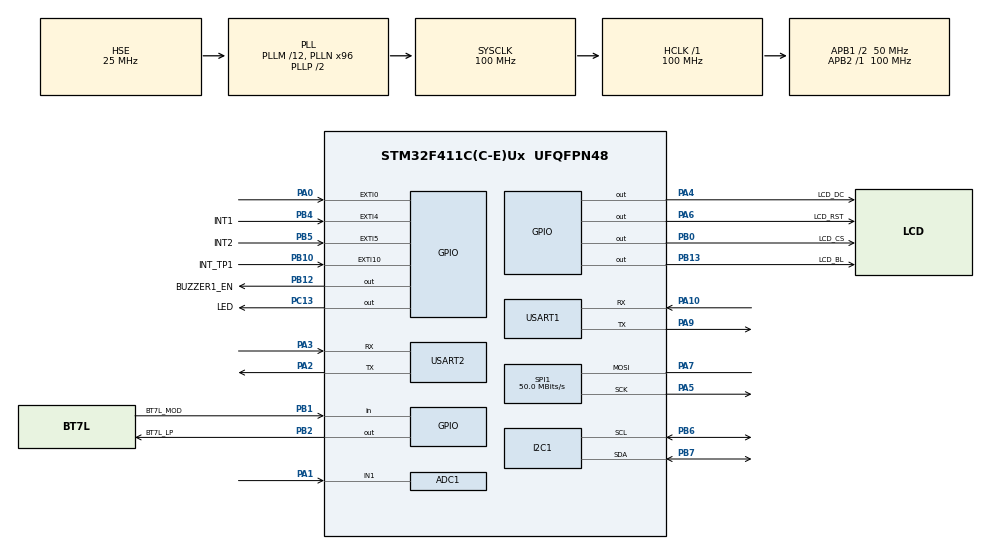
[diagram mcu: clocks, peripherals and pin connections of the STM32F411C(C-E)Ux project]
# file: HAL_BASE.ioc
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ADC1.Channel-0\#ChannelRegularConversion=ADC_CHANNEL_1
ADC1.NbrOfConversionFlag=1
ADC1.Rank-0\#ChannelRegularConversion=1
ADC1.SamplingTime-0\#ChannelRegularConversion=ADC_SAMPLETIME_3CYCLES
ADC1.master=1
Dma.Request0=SPI1_TX
Dma.SPI1_TX.0.Direction=DMA_MEMORY_TO_PERIPH
Dma.SPI1_TX.0.FIFOMode=DMA_FIFOMODE_DISABLE
Dma.SPI1_TX.0.Instance=DMA2_Stream2
Dma.SPI1_TX.0.MemDataAlignment=DMA_MDATAALIGN_BYTE
Dma.SPI1_TX.0.MemInc=DMA_MINC_ENABLE
Dma.SPI1_TX.0.Mode=DMA_CIRCULAR
Dma.SPI1_TX.0.PeriphDataAlignment=DMA_PDATAALIGN_BYTE
Dma.SPI1_TX.0.PeriphInc=DMA_PINC_DISABLE
Dma.SPI1_TX.0.Priority=DMA_PRIORITY_LOW
Mcu.Family=STM32F4
Mcu.Name=STM32F411C(C-E)Ux
Mcu.Package=UFQFPN48
NVIC.DMA2_Stream2_IRQn=true\:0\:0\:false\:false\:true\:false\:true
NVIC.PriorityGroup=NVIC_PRIORITYGROUP_4
NVIC.RTC_Alarm_IRQn=true\:0\:0\:false\:false\:true\:true\:true
NVIC.TIM1_UP_TIM10_IRQn=true\:0\:0\:false\:false\:true\:true\:true
NVIC.USART1_IRQn=true\:0\:0\:false\:false\:true\:true\:true
NVIC.USART2_IRQn=true\:0\:0\:false\:false\:true\:true\:true
PA0-WKUP.Signal=GPXTI0
PA1.Signal=ADCx_IN1
PA10.Mode=Asynchronous
PA10.Signal=USART1_RX
PA2.Mode=Asynchronous
PA2.Signal=USART2_TX
PA3.Mode=Asynchronous
PA3.Signal=USART2_RX
PA4.GPIO_Label=LCD_DC
PA4.Signal=GPIO_Output
PA5.Mode=Simplex_Bidirectional_Master
PA5.Signal=SPI1_SCK
PA6.GPIO_Label=LCD_RST
PA6.Signal=GPIO_Output
PA7.Mode=Simplex_Bidirectional_Master
PA7.Signal=SPI1_MOSI
PA9.Mode=Asynchronous
PA9.Signal=USART1_TX
PB0.GPIO_Label=LCD_CS
PB0.Signal=GPIO_Output
PB1.GPIO_Label=BT7L_MOD
PB1.Signal=GPIO_Input
PB10.GPIO_Label=INT_TP1
PB10.Signal=GPXTI10
PB12.GPIO_Label=BUZZER1_EN
PB12.Signal=GPIO_Output
PB13.GPIO_Label=LCD_BL
PB13.Signal=GPIO_Output
PB2.GPIO_Label=BT7L_LP
PB2.Signal=GPIO_Output
PB4.GPIO_Label=INT1
PB4.Signal=GPXTI4
PB5.GPIO_Label=INT2
PB5.Signal=GPXTI5
PB6.Mode=I2C
PB6.Signal=I2C1_SCL
PB7.Mode=I2C
PB7.Signal=I2C1_SDA
PC13-ANTI_TAMP.GPIO_Label=LED
PC13-ANTI_TAMP.Signal=GPIO_Output
PC14-OSC32_IN.Mode=LSE-External-Oscillator
PC14-OSC32_IN.Signal=RCC_OSC32_IN
PC15-OSC32_OUT.Mode=LSE-External-Oscillator
PC15-OSC32_OUT.Signal=RCC_OSC32_OUT
PH0\ -\ OSC_IN.Mode=HSE-External-Oscillator
PH0\ -\ OSC_IN.Signal=RCC_OSC_IN
PH1\ -\ OSC_OUT.Mode=HSE-External-Oscillator
PH1\ -\ OSC_OUT.Signal=RCC_OSC_OUT
ProjectManager.HeapSize=0x200
ProjectManager.StackSize=0x400
ProjectManager.TargetToolchain=MDK-ARM V5.27
RCC.48MHZClocksFreq_Value=50000000
RCC.AHBFreq_Value=100000000
RCC.APB1CLKDivider=RCC_HCLK_DIV2
RCC.APB1Freq_Value=50000000
RCC.APB1TimFreq_Value=100000000
RCC.APB2Freq_Value=100000000
RCC.APB2TimFreq_Value=100000000
RCC.CortexFreq_Value=100000000
RCC.HCLKFreq_Value=100000000
RCC.HSE_VALUE=25000000
RCC.HSI_VALUE=16000000
RCC.PLLM=12
RCC.PLLN=96
RCC.PLLSourceVirtual=RCC_PLLSOURCE_HSE
RCC.RCC_RTC_Clock_Source=RCC_RTCCLKSOURCE_LSE
RCC.SYSCLKFreq_VALUE=100000000
RCC.SYSCLKSource=RCC_SYSCLKSOURCE_PLLCLK
RCC.VCOOutputFreq_Value=200000000
RTC.Alarm=RTC_ALARM_A
SH.ADCx_IN1.0=ADC1_IN1,IN1
SPI1.CalculateBaudRate=50.0 MBits/s
SPI1.Direction=SPI_DIRECTION_1LINE
SPI1.Mode=SPI_MODE_MASTER
SPI1.VirtualType=VM_MASTER
TIM10.Period=10000
TIM10.Prescaler=0
USART1.VirtualMode=VM_ASYNC
USART2.VirtualMode=VM_ASYNC
VP_RTC_VS_RTC_Activate.Mode=RTC_Enabled
VP_RTC_VS_RTC_Alarm_A_Intern.Mode=Alarm A
VP_RTC_VS_RTC_Calendar.Mode=RTC_Calendar
VP_TIM10_VS_ClockSourceINT.Mode=Enable_Timer
board=custom

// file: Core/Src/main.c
/* USER CODE BEGIN Header */
/**
  ******************************************************************************
  * @file           : main.c
  * @brief          : Main program body
  ******************************************************************************
  * @attention
  *
  * <h2><center>&copy; Copyright (c) 2021 STMicroelectronics.
  * All rights reserved.</center></h2>
  *
  * This software component is licensed by ST under BSD 3-Clause license,
  * the "License"; You may not use this file except in compliance with the
  * License. You may obtain a copy of the License at:
  *                        opensource.org/licenses/BSD-3-Clause
  *
  ******************************************************************************
  */
/* USER CODE END Header */
#include "main.h"
#include "adc.h"
#include "dma.h"
#include "i2c.h"
#include "rtc.h"
#include "spi.h"
#include "tim.h"
#include "usart.h"
#include "gpio.h"

/* USER CODE BEGIN Includes */
#include "stdio.h"
#include "ControlTask.h"
#include "BMP280/bmp280.h"

#include "mcu_sdk/bluetooth.h"
/* vim: set ai et ts=4 sw=4: */
#include <string.h>
#include "st7735/st7735.h"
#include "st7735/fonts.h"
#include "st7735/testimg.h"
//lvgl includes
#include "lvgl/lvgl.h"
//multiButton
#include "multi_button/multi_button.h"
//lowpower
#include "lowpower/lpmode.h"
#include "lsm6dsm_STdC/driver/lsm6dsm_reg.h"
/* USER CODE END Includes */

/* USER CODE BEGIN PV */
/* Buffer used for transmission */
uint8_t aTxStartMessage[] = "****UART-Hyperterminal communication based on IT ****\r\n Enter 10 characters using keyboard :\r\n";
uint8_t aTxEndMessage[] = "\r\nExample Finished\r\n";

/* Buffer used for reception */
uint8_t aRxBuffer[20];
uint8_t bRxBuffer;
uint8_t tuya_test_string[]={0x55,0xAA,0x00,0x0A,0x00,0x00,0x09};

BMP280_HandleTypedef bmp280;
uint16_t size;
uint8_t Data[256];
uint8_t bme280ready=0;

//clock configuration
uint8_t clockTime=0;

//LVGL
extern lv_font_t myFont;			// 声明制作好的字库
uint8_t completed1 = 0;
//lowpower-stop
extern uint8_t my_stop;
//multibutton

//blutetooth flag
uint8_t bt_update=0;

/* USER CODE END PV */

void SystemClock_Config(void);
/* USER CODE BEGIN PFP */
void Buzzer_En(void);
void Buzzer_Clr(void);
void LP_Clr(void);

//void BME280_SendMessage();
/* USER CODE END PFP */

/* USER CODE BEGIN 0 */

void init() {
	LP_Clr();										// 关闭蓝牙低功�?
	bt_protocol_init();					// 蓝牙模组初始�?
  ST7735_Init();							// LCD初始�?
	ST7735_FillScreen(ST7735_BLACK);
	lv_init();									// LittleVGL初始�?
	lv_port_disp_init();        // 显示器初始化
	my_button_init();						//multi_button初始�?
	if(HAL_RTCEx_BKUPRead(&hrtc,RTC_BKP_DR1) != 0x32F2)//RTC时间初始化
		set_time();
	set_alarm();
	//做初始化
	lsm6dsm_read_data_polling();
	HAL_UART_Receive_IT(&huart2, &bRxBuffer, 1);//串口中断接收
	//F4不支持	HAL_ADCEx_Calibration_Start(&hadc1);                     //校准ADC
}

static void lv_ex_label_1(void)
{
    lv_obj_t * label2 = lv_label_create(lv_scr_act(), NULL);
    lv_label_set_recolor(label2, true);
    lv_label_set_long_mode(label2, LV_LABEL_LONG_SROLL_CIRC); /*Circular scroll*/
    lv_obj_set_width(label2, 120);
    // Hello world ! Trisuborn.
    lv_label_set_text(label2, "#ff0000 Today# #00ff00 I'm very # #0000ff happy # #0f0f0f lalalala #");
    lv_obj_align(label2, NULL, LV_ALIGN_CENTER, 0, 0);
}

static void lv_test(void)
{
    lv_obj_t *myFont_label = lv_label_create(lv_scr_act(), NULL);
    if(myFont_label == NULL)
    {
        printf("init failed\r\n");
        while(1);
    }
    static lv_style_t myFont_style;
    lv_style_copy(&myFont_style,&lv_style_plain);
    myFont_style.text.font = &myFont;

		lv_label_set_long_mode(myFont_label, LV_LABEL_LONG_SROLL_CIRC); /*Circular scroll*/
		lv_obj_set_size(myFont_label, 120,80);
		lv_label_set_recolor(myFont_label, true);

    lv_label_set_style(myFont_label,LV_LABEL_STYLE_MAIN,&myFont_style);
    lv_label_set_text(myFont_label," #ff0000 fantastic!# ");
    lv_label_set_body_draw(myFont_label,true);
    lv_obj_align(myFont_label,NULL,LV_ALIGN_CENTER,0,0);
}

void lv_ex_obj_1(void)
{
    lv_obj_t * obj1;
    obj1 = lv_obj_create(lv_scr_act(), NULL);
    lv_obj_set_size(obj1, 100, 50);
    lv_obj_set_style(obj1, &lv_style_plain_color);
    lv_obj_align(obj1, NULL, LV_ALIGN_CENTER, -10, -5);

    /*Copy the previous object and enable drag*/
    lv_obj_t * obj2;
    obj2 = lv_obj_create(lv_scr_act(), obj1);
    lv_obj_set_style(obj2, &lv_style_pretty_color);
    lv_obj_align(obj2, NULL, LV_ALIGN_CENTER, 0, 0);
    lv_obj_set_drag(obj2, true);

    static lv_style_t style_shadow;
    lv_style_copy(&style_shadow, &lv_style_pretty);
    style_shadow.body.shadow.width = 6;
    style_shadow.body.radius = LV_RADIUS_CIRCLE;

    /*Copy the previous object (drag is already enabled)*/
    lv_obj_t * obj3;
    obj3 = lv_obj_create(lv_scr_act(), obj2);
    lv_obj_set_style(obj3, &style_shadow);
    lv_obj_align(obj3, NULL, LV_ALIGN_CENTER, 10, 5);
}

static void event_handler(lv_obj_t * obj, lv_event_t event)
{
    if(event == LV_EVENT_CLICKED) {
        lv_calendar_date_t * date = lv_calendar_get_pressed_date(obj);
        if(date) {
            lv_calendar_set_today_date(obj, date);
        }
    }
}

void lv_ex_calendar_1(void)
{
    lv_obj_t  * calendar = lv_calendar_create(lv_scr_act(), NULL);
    lv_obj_set_size(calendar,160, 160);
    lv_obj_align(calendar, NULL, LV_ALIGN_IN_TOP_MID, 0, 0);
    lv_obj_set_event_cb(calendar, event_handler);

    /*Set the today*/
    lv_calendar_date_t today;
    today.year = 2018;
    today.month = 10;
    today.day = 23;

    lv_calendar_set_today_date(calendar, &today);
    lv_calendar_set_showed_date(calendar, &today);

    /*Highlight some days*/
    static lv_calendar_date_t highlihted_days[3];       /*Only it's pointer will be saved so should be static*/
    highlihted_days[0].year = 2018;
    highlihted_days[0].month = 10;
    highlihted_days[0].day = 6;

    highlihted_days[1].year = 2018;
    highlihted_days[1].month = 10;
    highlihted_days[1].day = 11;

    highlihted_days[2].year = 2018;
    highlihted_days[2].month = 11;
    highlihted_days[2].day = 22;

    lv_calendar_set_highlighted_dates(calendar, highlihted_days, 3);
}

void lv_ex_tileview_1(void)
{
    static lv_point_t valid_pos[] = {{0,0}, {0, 1}, {1,1}};
    lv_obj_t *tileview;
    tileview = lv_tileview_create(lv_scr_act(), NULL);
    lv_tileview_set_valid_positions(tileview, valid_pos, 3);
    lv_tileview_set_edge_flash(tileview, true);

    lv_obj_t * tile1 = lv_obj_create(tileview, NULL);
    lv_obj_set_size(tile1, LV_HOR_RES, LV_VER_RES);
    lv_obj_set_style(tile1, &lv_style_pretty);
    lv_tileview_add_element(tileview, tile1);

    /*Tile1: just a label*/
    lv_obj_t * label = lv_label_create(tile1, NULL);
    lv_label_set_text(label, "Tile 1");
    lv_obj_align(label, NULL, LV_ALIGN_CENTER, 0, 0);

    /*Tile2: a list*/
    lv_obj_t * list = lv_list_create(tileview, NULL);
    lv_obj_set_size(list, LV_HOR_RES, LV_VER_RES);
    lv_obj_set_pos(list, 0, LV_VER_RES);
    lv_list_set_scroll_propagation(list, true);
    lv_list_set_sb_mode(list, LV_SB_MODE_OFF);
    lv_tileview_add_element(tileview, list);

    lv_obj_t * list_btn;
    list_btn = lv_list_add_btn(list, NULL, "One");
    lv_tileview_add_element(tileview, list_btn);

    list_btn = lv_list_add_btn(list, NULL, "Two");
    lv_tileview_add_element(tileview, list_btn);

    list_btn = lv_list_add_btn(list, NULL, "Three");
    lv_tileview_add_element(tileview, list_btn);

    list_btn = lv_list_add_btn(list, NULL, "Four");
    lv_tileview_add_element(tileview, list_btn);

    list_btn = lv_list_add_btn(list, NULL, "Five");
    lv_tileview_add_element(tileview, list_btn);

    list_btn = lv_list_add_btn(list, NULL, "Six");
    lv_tileview_add_element(tileview, list_btn);

    list_btn = lv_list_add_btn(list, NULL, "Seven");
    lv_tileview_add_element(tileview, list_btn);

    list_btn = lv_list_add_btn(list, NULL, "Eight");
    lv_tileview_add_element(tileview, list_btn);

    /*Tile3: a button*/
    lv_obj_t * tile3 = lv_obj_create(tileview, tile1);
    lv_obj_set_pos(tile3, LV_HOR_RES, LV_VER_RES);
    lv_tileview_add_element(tileview, tile3);

    lv_obj_t * btn = lv_btn_create(tile3, NULL);
    lv_obj_align(btn, NULL, LV_ALIGN_CENTER, 0, 0);

    label = lv_label_create(btn, NULL);
    lv_label_set_text(label, "Button");
}

#define CANVAS_WIDTH  100
#define CANVAS_HEIGHT  75

void lv_ex_canvas_1(void)
{
    static lv_style_t style;
    lv_style_copy(&style, &lv_style_plain);
    style.body.main_color = LV_COLOR_RED;
    style.body.grad_color = LV_COLOR_MAROON;
    style.body.radius = 4;
    style.body.border.width = 2;
    style.body.border.color = LV_COLOR_BLACK;
    style.body.shadow.color = LV_COLOR_BLACK;
    style.body.shadow.width = 4;
    style.line.width = 2;
    style.line.color = LV_COLOR_BLACK;
    style.text.color = LV_COLOR_BLUE;

    static lv_color_t cbuf[LV_CANVAS_BUF_SIZE_TRUE_COLOR(CANVAS_WIDTH, CANVAS_HEIGHT)];

    lv_obj_t * canvas = lv_canvas_create(lv_scr_act(), NULL);
    lv_canvas_set_buffer(canvas, cbuf, CANVAS_WIDTH, CANVAS_HEIGHT, LV_IMG_CF_TRUE_COLOR);
    lv_obj_align(canvas, NULL, LV_ALIGN_CENTER, 0, 0);
    lv_canvas_fill_bg(canvas, LV_COLOR_SILVER);

    lv_canvas_draw_rect(canvas, 35, 30, 50, 35, &style);

    lv_canvas_draw_text(canvas, 20, 10, 50, &style, "Some text", LV_LABEL_ALIGN_LEFT);

    /* Test the rotation. It requires an other buffer where the orignal image is stored.
     * So copy the current image to buffer and rotate it to the canvas */
    lv_color_t cbuf_tmp[CANVAS_WIDTH * CANVAS_HEIGHT];
    memcpy(cbuf_tmp, cbuf, sizeof(cbuf_tmp));
    lv_img_dsc_t img;
    img.data = (void *)cbuf_tmp;
    img.header.cf = LV_IMG_CF_TRUE_COLOR;
    img.header.w = CANVAS_WIDTH;
    img.header.h = CANVAS_HEIGHT;

    lv_canvas_fill_bg(canvas, LV_COLOR_SILVER);
    lv_canvas_rotate(canvas, &img, 30, 0, 0, CANVAS_WIDTH / 2, CANVAS_HEIGHT / 2);
}

void ready_call_back()
{
	printf("anim\n\r");

}
lv_obj_t * btn1;
lv_anim_t a;
void my_lv_anim1()
{

	btn1 = lv_obj_create(lv_scr_act(), NULL);
	lv_obj_set_size(btn1, 50, 20);
	lv_obj_set_style(btn1, &lv_style_btn_ina);
	lv_obj_align(btn1, NULL, LV_ALIGN_CENTER, -30, 0);

	memset(&a, 0, sizeof(lv_anim_t));

	a.var = btn1;  //动画对象

	a.exec_cb = lv_obj_set_y; // y轴移动
	a.time =   lv_anim_speed_to_time(100,0,100); //1S的动画时间
	a.start = 20;  // 开始坐标
	a.end = 110;   // 结束坐标

	a.act_time = 0;  //第一次运行动画时，延时500ms开始

	a.path_cb = lv_anim_path_ease_out ;//lv_anim_path_bounce; //模拟弹性物体下落动画
	a.ready_cb = ready_call_back;  // 自定义的打印函数

	a.playback = 0;     //不开启动画回放
	a.playback_pause = 2000;

//	a.repeat = 1;       //开始重复动画
//	a.repeat_pause = 200;//每次重复动画时间间隔200ms
	lv_anim_create(&a);  //必须调用的函数,否则无法使用
}
/*��ҳ�洰��*/
static lv_obj_t * appWindow;
/*����ͼƬ*/
static lv_obj_t * imgBg;
//static void ImgBg_Create()
//{
//		appWindow = lv_obj_create(lv_scr_act(), NULL);
//		lv_obj_set_size(appWindow, 160, 80);
//    LV_IMG_DECLARE(ImgBg);
//    imgBg = lv_img_create(appWindow, NULL);
//    lv_img_set_src(imgBg, &ImgBg);
//    lv_obj_align(imgBg, NULL, LV_ALIGN_CENTER, 0, 0);
//}

/* USER CODE END 0 */

int main(void)
{

  /* MCU Configuration--------------------------------------------------------*/

  /* Reset of all peripherals, Initializes the Flash interface and the Systick. */
  HAL_Init();

  /* Configure the system clock */
  SystemClock_Config();

  /* Initialize all configured peripherals */
  MX_GPIO_Init();
  MX_DMA_Init();
  MX_ADC1_Init();
  MX_I2C1_Init();
  MX_RTC_Init();
  MX_SPI1_Init();
  MX_TIM10_Init();
  MX_USART1_UART_Init();
  MX_USART2_UART_Init();
  /* USER CODE BEGIN 2 */

	init();

	DialPlateSetup();

	HAL_TIM_Base_Start_IT(&htim10);

	bmp280_init_default_params(&bmp280.params);
	bmp280.addr = BMP280_I2C_ADDRESS_0;
	bmp280.i2c = &hi2c1;

	while (!bmp280_init(&bmp280, &bmp280.params)) {
		size = sprintf((char *)Data, "BMP280 initialization failed\n");
		HAL_UART_Transmit(&huart1, Data, size, 1000);
		HAL_Delay(2000);
	}
	bool bme280p = bmp280.id == BME280_CHIP_ID;
	size = sprintf((char *)Data, "BMP280: found %s\n", bme280p ? "BME280" : "BMP280");
	HAL_UART_Transmit(&huart1, Data, size, 1000);

//	HAL_UART_Transmit(&huart2, tuya_test_string, sizeof(tuya_test_string), 5000);
  /* USER CODE END 2 */

  /* Infinite loop */
  /* USER CODE BEGIN WHILE */
  while (1)
  {

//		prinf("%s\n\r",bt_uart_rx_buf);
		bt_uart_service();
		lv_task_handler();

    /* USER CODE END WHILE */

    /* USER CODE BEGIN 3 */

		if(my_stop){
			my_stop=0;
			HAL_GPIO_WritePin(LED_GPIO_Port,LED_Pin,1);
			HAL_NVIC_EnableIRQ(EXTI15_10_IRQn);
			module_pwr_enter_stop_mode();
			module_pwr_stop_mode_wake();
			HAL_NVIC_DisableIRQ(EXTI15_10_IRQn);

//			init();
//			DialPlateSetup();
		}

//		if(bme280ready==1){
//			bme280ready=0;
//			bmp280_read_float(&bmp280, &temperature, &pressure, &humidity);
//
//		}
		if(get_time_flag)
		{
			get_time();
		}
		if(bt_update){
			bt_update=0;
			all_data_update();
			imu_lsm6dsm_read();
		}

	}
  /* USER CODE END 3 */
}

void SystemClock_Config(void)
{
  RCC_OscInitTypeDef RCC_OscInitStruct = {0};
  RCC_ClkInitTypeDef RCC_ClkInitStruct = {0};
  RCC_PeriphCLKInitTypeDef PeriphClkInitStruct = {0};

  /** Configure the main internal regulator output voltage
  */
  __HAL_RCC_PWR_CLK_ENABLE();
  __HAL_PWR_VOLTAGESCALING_CONFIG(PWR_REGULATOR_VOLTAGE_SCALE1);
  /** Initializes the RCC Oscillators according to the specified parameters
  * in the RCC_OscInitTypeDef structure.
  */
  RCC_OscInitStruct.OscillatorType = RCC_OSCILLATORTYPE_HSE|RCC_OSCILLATORTYPE_LSE;
  RCC_OscInitStruct.HSEState = RCC_HSE_ON;
  RCC_OscInitStruct.LSEState = RCC_LSE_ON;
  RCC_OscInitStruct.PLL.PLLState = RCC_PLL_ON;
  RCC_OscInitStruct.PLL.PLLSource = RCC_PLLSOURCE_HSE;
  RCC_OscInitStruct.PLL.PLLM = 12;
  RCC_OscInitStruct.PLL.PLLN = 96;
  RCC_OscInitStruct.PLL.PLLP = RCC_PLLP_DIV2;
  RCC_OscInitStruct.PLL.PLLQ = 4;
  if (HAL_RCC_OscConfig(&RCC_OscInitStruct) != HAL_OK)
  {
    Error_Handler();
  }
  /** Initializes the CPU, AHB and APB buses clocks
  */
  RCC_ClkInitStruct.ClockType = RCC_CLOCKTYPE_HCLK|RCC_CLOCKTYPE_SYSCLK
                              |RCC_CLOCKTYPE_PCLK1|RCC_CLOCKTYPE_PCLK2;
  RCC_ClkInitStruct.SYSCLKSource = RCC_SYSCLKSOURCE_PLLCLK;
  RCC_ClkInitStruct.AHBCLKDivider = RCC_SYSCLK_DIV1;
  RCC_ClkInitStruct.APB1CLKDivider = RCC_HCLK_DIV2;
  RCC_ClkInitStruct.APB2CLKDivider = RCC_HCLK_DIV1;

  if (HAL_RCC_ClockConfig(&RCC_ClkInitStruct, FLASH_LATENCY_3) != HAL_OK)
  {
    Error_Handler();
  }
  PeriphClkInitStruct.PeriphClockSelection = RCC_PERIPHCLK_RTC;
  PeriphClkInitStruct.RTCClockSelection = RCC_RTCCLKSOURCE_LSE;
  if (HAL_RCCEx_PeriphCLKConfig(&PeriphClkInitStruct) != HAL_OK)
  {
    Error_Handler();
  }
}

/* USER CODE BEGIN 4 */
void Buzzer_En()
{
	buzzerEN=1;
}
void Buzzer_Clr()
{
	buzzerEN=0;
	HAL_GPIO_WritePin(BUZZER1_EN_GPIO_Port,BUZZER1_EN_Pin,GPIO_PIN_RESET);
}
//Bluetooth low power mode
void LP_Clr()
{
	HAL_GPIO_WritePin(BT7L_LP_GPIO_Port,BT7L_LP_Pin,GPIO_PIN_SET);
}

//extern bool bme280p;
//void BME280_SendMessage(){
//	while (!bmp280_read_float(&bmp280, &temperature, &pressure, &humidity)) {
//		size = sprintf((char *)Data,
//				"Temperature/pressure reading failed\n");
//		HAL_UART_Transmit(&huart1, Data, size, 1000);
//		HAL_Delay(2000);
//	}

//	size = sprintf((char *)Data,"Pressure: %.2f Pa, Temperature: %.2f C",
//			pressure, temperature);
//	HAL_UART_Transmit(&huart1, Data, size, 1000);
//	if (bme280p) {
//		size = sprintf((char *)Data,", Humidity: %.2f\n", humidity);
//		HAL_UART_Transmit(&huart1, Data, size, 1000);
//	}
//	else {
//		size = sprintf((char *)Data, "\n");
//		HAL_UART_Transmit(&huart1, Data, size, 1000);
//	}
//}

/* USER CODE END 4 */

void Error_Handler(void)
{
}

/************************ (C) COPYRIGHT STMicroelectronics *****END OF FILE****/
